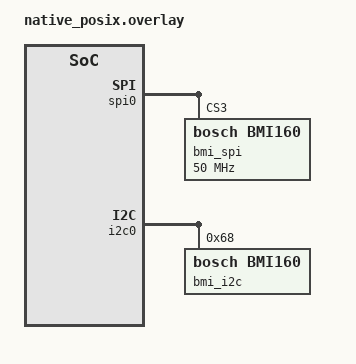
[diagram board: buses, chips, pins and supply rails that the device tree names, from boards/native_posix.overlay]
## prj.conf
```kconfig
CONFIG_ZTEST=y
CONFIG_ZTEST_NEW_API=y
CONFIG_SENSOR_VERSION_2=y
CONFIG_SENSOR_STREAMING_MODE=y
CONFIG_BMI160_TRIGGER_GLOBAL_THREAD=y
```

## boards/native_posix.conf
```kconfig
# Copyright (c) 2020 Nordic Semiconductor ASA
# SPDX-License-Identifier: Apache-2.0

CONFIG_EMUL=y
CONFIG_I2C=y
CONFIG_SPI=y
CONFIG_EMUL_BMI160=y
CONFIG_SENSOR=y
CONFIG_BMI160_TRIGGER_NONE=y
```

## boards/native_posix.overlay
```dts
/* Copyright (c) 2020 Nordic Semiconductor ASA
 * SPDX-License-Identifier: Apache-2.0
 */

/ {
	aliases {
		accel-0 = &bmi_spi;
		accel-1 = &bmi_i2c;
	};
};

&spi0 {
	bmi_spi: bmi@3 {
		compatible = "bosch,bmi160";
		spi-max-frequency = <DT_FREQ_M(50)>;
		reg = <3>;
	};
};

&i2c0 {
	bmi_i2c: bmi@68 {
		compatible = "bosch,bmi160";
		reg = <0x68>;
	};
};
```

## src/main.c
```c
/*
 * Copyright 2020 Google LLC
 *
 * SPDX-License-Identifier: Apache-2.0
 */

/**
 * @defgroup driver_sensor_subsys_tests sensor_subsys
 * @ingroup all_tests
 * @{
 * @}
 */

#include <zephyr/drivers/emul.h>
#include <zephyr/drivers/emul_sensor.h>
#include <zephyr/drivers/sensor.h>
#include <zephyr/ztest.h>

struct sensor_accel_fixture {
	const struct device *accel_spi;
	const struct device *accel_i2c;
	const struct emul *accel_emul_spi;
	const struct emul *accel_emul_i2c;
};

static enum sensor_channel channel[] = {
	SENSOR_CHAN_ACCEL_X, SENSOR_CHAN_ACCEL_Y, SENSOR_CHAN_ACCEL_Z,
	SENSOR_CHAN_GYRO_X,  SENSOR_CHAN_GYRO_Y,  SENSOR_CHAN_GYRO_Z,
};

static int32_t compute_epsilon_micro(q31_t value, int8_t shift)
{
	int64_t intermediate = value;

	if (shift > 0) {
		intermediate <<= shift;
	} else if (shift < 0) {
		intermediate >>= -shift;
	}

	intermediate = intermediate * INT64_C(1000000) / INT32_MAX;
	return CLAMP(intermediate, INT32_MIN, INT32_MAX);
}

static void test_sensor_accel_basic(const struct device *dev, const struct emul *emulator)
{
	q31_t accel_ranges[3];
	q31_t gyro_ranges[3];
	int8_t accel_shift;
	int8_t gyro_shift;

	zassert_ok(sensor_sample_fetch(dev), "fail to fetch sample");
	zassert_ok(emul_sensor_backend_get_sample_range(emulator, SENSOR_CHAN_ACCEL_XYZ,
							&accel_ranges[0], &accel_ranges[1],
							&accel_ranges[2], &accel_shift));
	zassert_ok(emul_sensor_backend_get_sample_range(emulator, SENSOR_CHAN_GYRO_XYZ,
							&gyro_ranges[0], &gyro_ranges[1],
							&gyro_ranges[2], &gyro_shift));

	int32_t accel_epsilon = compute_epsilon_micro(accel_ranges[2], accel_shift);
	int32_t gyro_epsilon = compute_epsilon_micro(gyro_ranges[2], gyro_shift);

	for (int i = 0; i < ARRAY_SIZE(channel); i++) {
		struct sensor_value val;
		int64_t micro_val;
		int32_t epsilon = (i < 3) ? accel_epsilon : gyro_epsilon;

		zassert_ok(sensor_channel_get(dev, channel[i], &val), "fail to get channel");

		micro_val = sensor_value_to_micro(&val);
		zassert_within(i * INT64_C(1000000), micro_val, epsilon,
			       "%d. expected %" PRIi64 " to be within %d of %" PRIi64, i,
			       i * INT64_C(1000000), epsilon, micro_val);
	}
}

/* Run all of our tests on an accelerometer device with the given label */
static void run_tests_on_accel(const struct device *accel)
{
	zassert_true(device_is_ready(accel), "Accelerometer device is not ready");

	PRINT("Running tests on '%s'\n", accel->name);
	k_object_access_grant(accel, k_current_get());
}

ZTEST_USER_F(sensor_accel, test_sensor_accel_basic_spi)
{
	run_tests_on_accel(fixture->accel_spi);
	test_sensor_accel_basic(fixture->accel_spi, fixture->accel_emul_spi);
}

ZTEST_USER_F(sensor_accel, test_sensor_accel_basic_i2c)
{
	if (fixture->accel_i2c == NULL) {
		ztest_test_skip();
	}

	run_tests_on_accel(fixture->accel_i2c);
	test_sensor_accel_basic(fixture->accel_i2c, fixture->accel_emul_i2c);
}

static void sensor_accel_setup_emulator(const struct device *dev, const struct emul *accel_emul)
{
	if (accel_emul == NULL) {
		return;
	}

	static struct {
		enum sensor_channel channel;
		q31_t value;
	} values[] = {
		{SENSOR_CHAN_ACCEL_X, 0},       {SENSOR_CHAN_ACCEL_Y, 1 << 28},
		{SENSOR_CHAN_ACCEL_Z, 2 << 28}, {SENSOR_CHAN_GYRO_X, 3 << 28},
		{SENSOR_CHAN_GYRO_Y, 4 << 28},  {SENSOR_CHAN_GYRO_Z, 5 << 28},
	};
	static struct sensor_value scale;

	/* 4g */
	scale.val1 = 39;
	scale.val2 = 226600;
	zassert_ok(sensor_attr_set(dev, SENSOR_CHAN_ACCEL_XYZ, SENSOR_ATTR_FULL_SCALE, &scale));

	/* 125 deg/s */
	scale.val1 = 2;
	scale.val2 = 181661;
	zassert_ok(sensor_attr_set(dev, SENSOR_CHAN_GYRO_XYZ, SENSOR_ATTR_FULL_SCALE, &scale));

	for (int i = 0; i < ARRAY_SIZE(values); ++i) {
		zassert_ok(emul_sensor_backend_set_channel(accel_emul, values[i].channel,
							   &values[i].value, 3));
	}
}

static void *sensor_accel_setup(void)
{
	static struct sensor_accel_fixture fixture = {
		.accel_spi = DEVICE_DT_GET(DT_ALIAS(accel_0)),
		.accel_i2c = DEVICE_DT_GET_OR_NULL(DT_ALIAS(accel_1)),
		.accel_emul_spi = EMUL_DT_GET(DT_ALIAS(accel_0)),
		.accel_emul_i2c = EMUL_DT_GET_OR_NULL(DT_ALIAS(accel_1)),
	};

	sensor_accel_setup_emulator(fixture.accel_spi, fixture.accel_emul_spi);
	sensor_accel_setup_emulator(fixture.accel_i2c, fixture.accel_emul_i2c);

	return &fixture;
}

ZTEST_SUITE(sensor_accel, NULL, sensor_accel_setup, NULL, NULL, NULL);
```

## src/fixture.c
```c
/*
 * Copyright 2023 Google LLC
 *
 * SPDX-License-Identifier: Apache-2.0
 */

#include "fixture.h"

#include <zephyr/drivers/emul_sensor.h>
#include <zephyr/drivers/sensor.h>
#include <zephyr/ztest.h>

static void sensor_bmi160_setup_emulator(const struct device *dev, const struct emul *emulator)
{
	static struct {
		enum sensor_channel channel;
		q31_t value;
	} values[] = {
		{SENSOR_CHAN_ACCEL_X, 0},       {SENSOR_CHAN_ACCEL_Y, 1 << 28},
		{SENSOR_CHAN_ACCEL_Z, 2 << 28}, {SENSOR_CHAN_GYRO_X, 3 << 28},
		{SENSOR_CHAN_GYRO_Y, 4 << 28},  {SENSOR_CHAN_GYRO_Z, 5 << 28},
	};
	static struct sensor_value scale;

	/* 4g */
	scale.val1 = 39;
	scale.val2 = 226600;
	zassert_ok(sensor_attr_set(dev, SENSOR_CHAN_ACCEL_XYZ, SENSOR_ATTR_FULL_SCALE, &scale));

	/* 125 deg/s */
	scale.val1 = 2;
	scale.val2 = 181661;
	zassert_ok(sensor_attr_set(dev, SENSOR_CHAN_GYRO_XYZ, SENSOR_ATTR_FULL_SCALE, &scale));

	for (size_t i = 0; i < ARRAY_SIZE(values); ++i) {
		zassert_ok(emul_sensor_backend_set_channel(emulator, values[i].channel,
							   &values[i].value, 3));
	}
}

static void *bmi160_setup(void)
{
	static struct bmi160_fixture fixture = {
		.dev_spi = DEVICE_DT_GET(DT_ALIAS(accel_0)),
		.dev_i2c = DEVICE_DT_GET(DT_ALIAS(accel_1)),
		.emul_spi = EMUL_DT_GET(DT_ALIAS(accel_0)),
		.emul_i2c = EMUL_DT_GET(DT_ALIAS(accel_1)),
	};

	sensor_bmi160_setup_emulator(fixture.dev_i2c, fixture.emul_i2c);
	sensor_bmi160_setup_emulator(fixture.dev_spi, fixture.emul_spi);

	return &fixture;
}

static void bmi160_before(void *f)
{
	struct bmi160_fixture *fixture = (struct bmi160_fixture *)f;

	zassert_true(device_is_ready(fixture->dev_spi), "'%s' device is not ready",
		     fixture->dev_spi->name);
	zassert_true(device_is_ready(fixture->dev_i2c), "'%s' device is not ready",
		     fixture->dev_i2c->name);

	k_object_access_grant(fixture->dev_spi, k_current_get());
	k_object_access_grant(fixture->dev_i2c, k_current_get());
}

ZTEST_SUITE(bmi160, NULL, bmi160_setup, bmi160_before, NULL, NULL);
```
